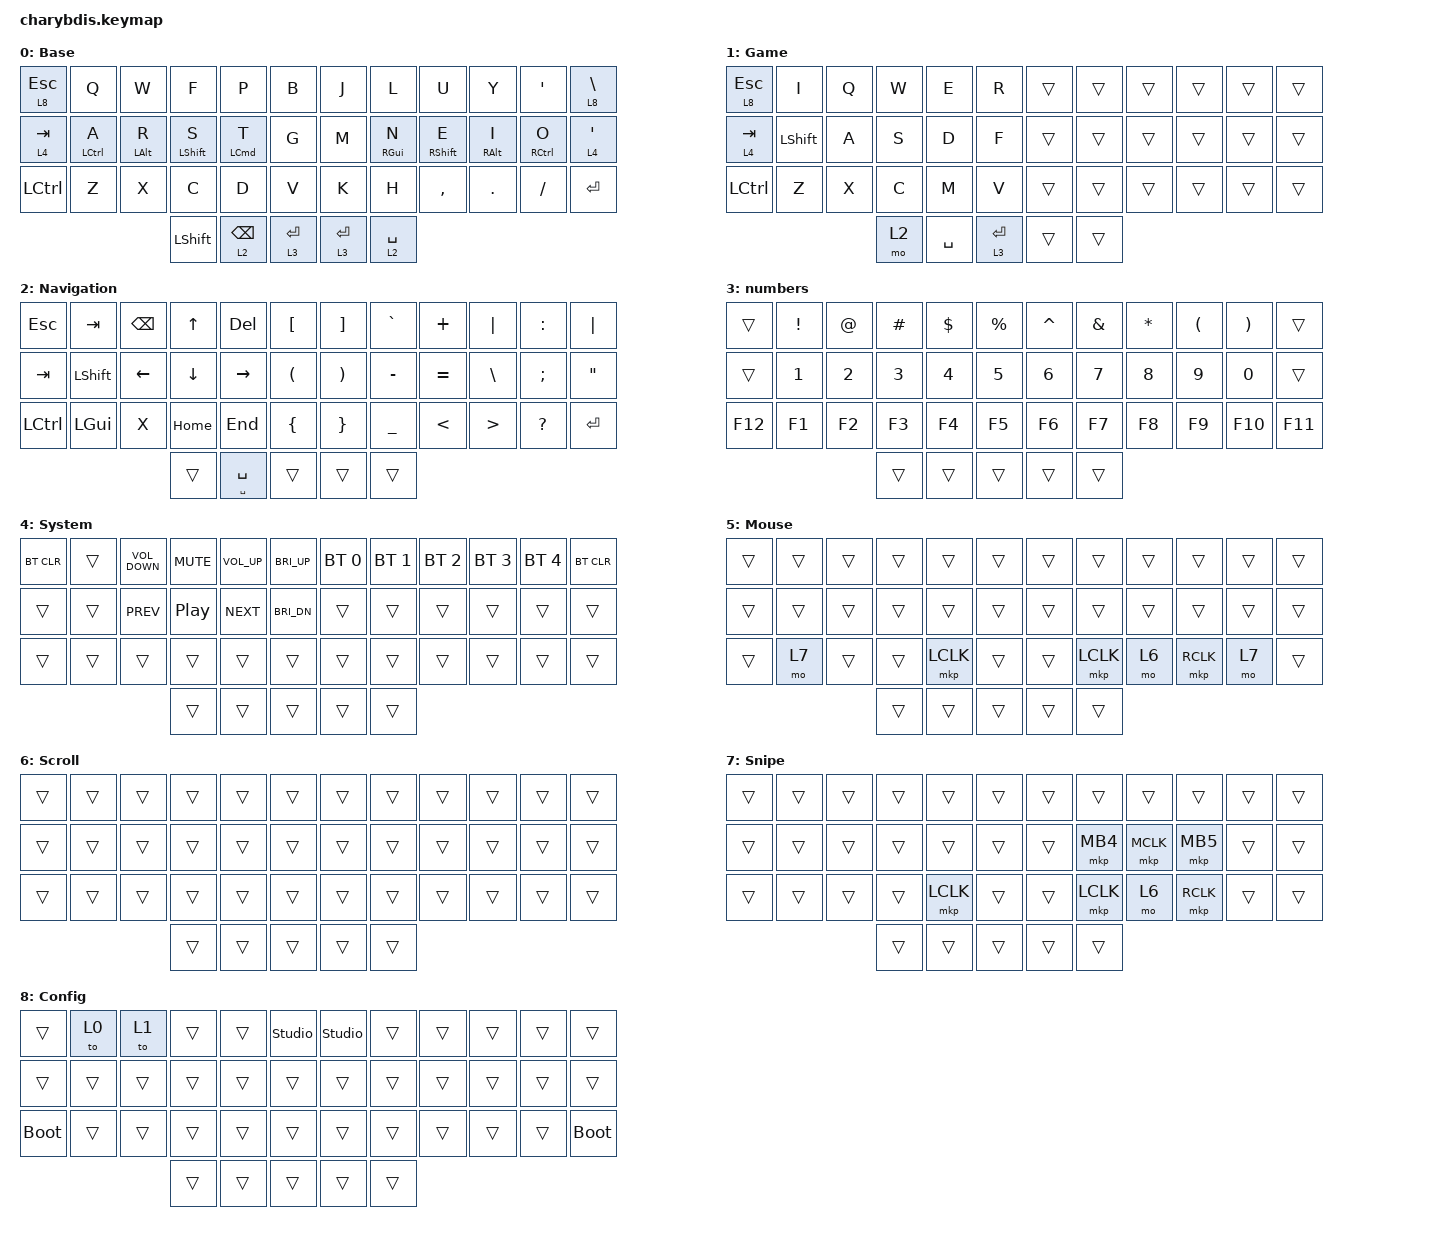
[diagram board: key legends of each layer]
#include <dt-bindings/zmk/mouse.h>
#include <behaviors/mouse_keys.dtsi>
#include <input/processors.dtsi>
#include <dt-bindings/zmk/input_transform.h>
#include <zephyr/dt-bindings/input/input-event-codes.h>
#include <behaviors.dtsi>
#include <dt-bindings/zmk/bt.h>
#include <dt-bindings/zmk/keys.h>
#include <dt-bindings/zmk/pointing.h>

#define QUICK_TAP_MS 175

#include "zmk-helpers/helper.h"
#include "zmk-helpers/key-labels/42.h"

#define KEYS_L 0 1 2 3 4 5 12 13 14 15 16 17 24 25 26 27 28 29 36 37 38 19 20 21 22  // Left-hand keys.
#define KEYS_R 6 7 8 9 10 11 18 19 20 21 22 23 30 31 32 33 34 35 39 40 16 15 14 13  // Right-hand keys.
#define THUMBS 36 37 38 39 40  // Thumb keys.
#define BASE 0
#define GAME 1
#define NAV  2
#define NUM  3
#define SYS  4
#define MOUSE  5
#define SCROLL 6
#define SNIPE 7

&sk {
    release-after-ms = <900>;  // release after 0.9s
    quick-release;             // no double capitalization when rolling keys
};

&sl {
    ignore-modifiers;          // allow chording sticky mods & layers
};

&lt {
    flavor = "balanced";
    tapping-term-ms = <200>;
    quick-tap-ms = <QUICK_TAP_MS>;
};

&mt {
    flavor = "balanced";
    tapping-term-ms = <200>;
    quick-tap-ms = <QUICK_TAP_MS>;
};

/ {
    behaviors {
        hm_right: homerow_mod_right {
            compatible = "zmk,behavior-hold-tap";
            #binding-cells = <2>;
            flavor = "balanced";
            tapping-term-ms = <280>;
            quick-tap-ms = <200>;
            require-prior-idle-ms = <150>;
            bindings = <&kp>, <&kp>;

            hold-trigger-key-positions = <0 1 2 3 4 5 12 13 14 15 16 17 24 25 26 27 28 29 36 37 38 19 20 21 22 36 37 38 39 40>;
        };

        hm_left: homerow_mod_left {
            compatible = "zmk,behavior-hold-tap";
            #binding-cells = <2>;
            flavor = "balanced";
            tapping-term-ms = <280>;
            quick-tap-ms = <200>;
            require-prior-idle-ms = <150>;
            bindings = <&kp>, <&kp>;

            hold-trigger-key-positions = <6 7 8 9 10 11 18 19 20 21 22 23 30 31 32 33 34 35 39 40 16 15 14 13 36 37 38 39 40>;
        };

        hm_right_layer: homerow_mod_right_layer {
            compatible = "zmk,behavior-hold-tap";
            #binding-cells = <2>;
            flavor = "balanced";
            tapping-term-ms = <280>;
            quick-tap-ms = <200>;
            require-prior-idle-ms = <150>;
            bindings = <&mo>, <&kp>;

            hold-trigger-key-positions = <0 1 2 3 4 5 12 13 14 15 16 17 24 25 26 27 28 29 36 37 38 19 20 21 22 36 37 38 39 40>;
        };

        hm_left_layer: homerow_mod_left_layer {
            compatible = "zmk,behavior-hold-tap";
            #binding-cells = <2>;
            flavor = "balanced";
            tapping-term-ms = <280>;
            quick-tap-ms = <200>;
            require-prior-idle-ms = <150>;
            bindings = <&mo>, <&kp>;

            hold-trigger-key-positions = <6 7 8 9 10 11 18 19 20 21 22 23 30 31 32 33 34 35 39 40 16 15 14 13 36 37 38 39 40>;
        };

        comment_or: comment_or {
            compatible = "zmk,behavior-hold-tap";
            label = "slash_or_comm";
            bindings = <&comment>, <&kp>;

            #binding-cells = <2>;
            tapping-term-ms = <200>;
            flavor = "tap-preferred";
        };

        all_quotes: all_quotes {
            compatible = "zmk,behavior-tap-dance";
            #binding-cells = <0>;
            tapping-term-ms = <200>;
            bindings = <&mt GRAVE SQT>, <&kp DOUBLE_QUOTES>;
        };

        space_or_super: space_or_super {
            compatible = "zmk,behavior-hold-tap";
            #binding-cells = <2>;
            flavor = "tap-preferred";
            tapping-term-ms = <250>;
            quick-tap-ms = <150>;
            require-prior-idle-ms = <125>;
            bindings = <&super>, <&kp>;
        };
    };

    combos {
        compatible = "zmk,combos";

        caps_lock {
            bindings = <&caps_word>;
            key-positions = <14 15 16>;
            timeout-ms = <100>;
            require-prior-idle-ms = <150>;
        };
    };

    macros {
        /**
       * Temporarily switches to a layer (`&mo`) while a modifier is held.
       * Analogous to QMK's `LM()`, using a parameterized macro.
       *
       * Params:
       *  1. Layer to switch to
       *  2. Modifier to press while layer is active
       *
       * Example:
       *  `&lm NUM_LAYER LSHIFT`
       */

        lm: lm {
            compatible = "zmk,behavior-macro-two-param";
            wait-ms = <0>;
            tap-ms = <0>;
            #binding-cells = <2>;
            bindings =
                <&macro_param_1to1>,
                <&macro_press>,
                <&mo MACRO_PLACEHOLDER &macro_param_2to1>,
                <&macro_press>,
                <&kp MACRO_PLACEHOLDER>,
                <&macro_pause_for_release>,
                <&macro_param_2to1>,
                <&macro_release>,
                <&kp MACRO_PLACEHOLDER &macro_param_1to1>,
                <&macro_release>,
                <&mo MACRO_PLACEHOLDER>;
        };

        press_two_keys: press_two_keys {
            compatible = "zmk,behavior-macro-two-param";
            wait-ms = <0>;
            tap-ms = <0>;
            #binding-cells = <2>;
            bindings =
                <&macro_param_1to1>,
                <&macro_tap>,
                <&kp MACRO_PLACEHOLDER &macro_param_2to1>,
                <&macro_tap>,
                <&kp MACRO_PLACEHOLDER>;
        };

        super: super {
            compatible = "zmk,behavior-macro";
            #binding-cells = <0>;
            bindings =
                <&macro_press>,
                <&kp LGUI>,
                <&macro_press>,
                <&kp LALT>,
                <&macro_press>,
                <&kp LCTL>,
                <&macro_pause_for_release>,
                <&macro_release>,
                <&kp LGUI>,
                <&macro_release>,
                <&kp LALT>,
                <&macro_release>,
                <&kp LCTL>;
        };

        more_or_equal: more_or_equal {
            compatible = "zmk,behavior-macro";
            #binding-cells = <0>;
            bindings = <&kp MINUS &kp GT>;
            label = "MORE_OR_EQUAL";
        };

        less_or_equal: less_or_equal {
            compatible = "zmk,behavior-macro";
            #binding-cells = <0>;
            bindings = <&kp LT &kp EQUAL>;
            label = "LESS_OR_EQUAL";
        };

        fun_arrow_right: fun_arrow_right {
            compatible = "zmk,behavior-macro";
            #binding-cells = <0>;
            bindings = <&kp MINUS &kp GT>;
            label = "FUN_ARROW_RIGHT";
        };

        comment: comment {
            compatible = "zmk,behavior-macro";
            #binding-cells = <0>;
            bindings = <&kp FSLH &kp STAR>;
            label = "MACROS_COMMENT";
        };
    };

    /omit-if-no-ref/

    zip_temp_layer: zip_temp_layer {
        compatible = "zmk,input-processor-temp-layer";
        #input-processor-cells = <2>;
        require-prior-idle-ms = <1000>;
    };

    /omit-if-no-ref/

    vertical_scroll_mapper: vertical_scroll_mapper {
        compatible = "zmk,input-processor-code-mapper";
        #input-processor-cells = <0>;
        type = <INPUT_EV_REL>;
        map = <INPUT_REL_Y INPUT_REL_WHEEL>;
    };

    trackball_listener {
        compatible = "zmk,input-listener";
        device = <&vtrackball>;

        // scaler: first is multiplier, second one is divider.
        // temp layer: first argument is layer, second is time in ms

        input-processors = <&zip_temp_layer MOUSE 800>, <&zip_xy_scaler 1 6>;

        snipe {
            layers = <SNIPE>;
            input-processors = <&zip_xy_scaler 1 18>;
        };

        scroll {
            layers = <SCROLL>;

            // scaler: first is multiplier, second one is divider.

            input-processors =
                <&zip_xy_to_scroll_mapper>,
                <&zip_scroll_transform (INPUT_TRANSFORM_Y_INVERT)>,
                <&zip_scroll_scaler 1 96>;
        };
    };

    /*                                      42 KEY MATRIX / LAYOUT MAPPING

  ╭────────────────────────┬────────────────────────╮ ╭─────────────────────────┬─────────────────────────╮
  │  0   1   2   3   4   5 │  6   7   8   9  10  11 │ │ LT5 LT4 LT3 LT2 LT1 LT0 │ RT0 RT1 RT2 RT3 RT4 RT5 │
  │ 12  13  14  15  16  17 │ 18  19  20  21  22  23 │ │ LM5 LM4 LM3 LM2 LM1 LM0 │ RM0 RM1 RM2 RM3 RM4 RM5 │
  │ 24  25  26  27  28  29 │ 30  31  32  33  34  35 │ │ LB5 LB4 LB3 LB2 LB1 LB0 │ RB0 RB1 RB2 RB3 RB4 RB5 │
  ╰───────────╮ 36  37  38 │ 39  40  41 ╭───────────╯ ╰───────────╮ LH2 LH1 LH0 │ RH0 RH1 RH2 ╭───────────╯
              ╰────────────┴────────────╯                         ╰─────────────┴─────────────╯             */

    keymap {
        compatible = "zmk,keymap";

        BASE {
            label = "Base";
            bindings = <
&lt 8 ESC         &kp Q             &kp W                &kp F             &kp P                    &kp B          &kp J        &kp L                  &kp U              &kp Y                  &kp SQT            &lt 8 BACKSLASH
&lt 4 TAB         &hm_left LCTRL A  &hm_left LEFT_ALT R  &hm_left LSHFT S  &hm_left LEFT_COMMAND T  &kp G          &kp M        &hm_right RIGHT_GUI N  &hm_right RSHFT E  &hm_right RIGHT_ALT I  &hm_right RCTRL O  &lt 4 SQT
&kp LEFT_CONTROL  &kp Z             &kp X                &kp C             &kp D                    &kp V          &kp K        &kp H                  &kp COMMA          &kp PERIOD             &kp SLASH          &kp ENTER
                                                         &kp LEFT_SHIFT    &lt 2 BACKSPACE          &lt 3 ENTER    &lt 3 ENTER  &lt 2 SPACE
            >;
        };

        GAME {
            label = "Game";
            bindings = <
&lt 8 ESC  &kp I           &kp Q  &kp W  &kp E      &kp R          &trans  &trans  &trans  &trans  &trans  &trans
&lt 4 TAB  &kp LEFT_SHIFT  &kp A  &kp S  &kp D      &kp F          &trans  &trans  &trans  &trans  &trans  &trans
&kp LCTRL  &kp Z           &kp X  &kp C  &kp M      &kp V          &trans  &trans  &trans  &trans  &trans  &trans
                                  &mo 2  &kp SPACE  &lt 3 ENTER    &trans  &trans
            >;
        };

        NAV {
            label = "Navigation";
            bindings = <
&kp ESC    &kp TAB    &kp BSPC  &kp UP_ARROW  &kp DEL                      &kp LBKT                &kp RBKT               &kp GRAVE       &kp PLUS       &kp PIPE          &kp COLON     &kp PIPE
&kp TAB    &kp LSHFT  &kp LEFT  &kp DOWN      &kp RIGHT                    &kp LEFT_PARENTHESIS    &kp RIGHT_PARENTHESIS  &kp MINUS       &kp EQUAL      &kp BSLH          &kp SEMI      &kp DOUBLE_QUOTES
&kp LCTRL  &kp LGUI   &kp X     &kp HOME      &kp END                      &kp LEFT_BRACE          &kp RIGHT_BRACE        &kp UNDERSCORE  &kp LESS_THAN  &kp GREATER_THAN  &kp QUESTION  &kp RET
                                &trans        &space_or_super SPACE SPACE  &trans                  &trans                 &trans
            >;
        };

        NUM {
            label = "numbers";
            bindings = <
&trans   &kp EXCLAMATION  &kp AT_SIGN  &kp HASH  &kp DOLLAR  &kp PERCENT    &kp CARET  &kp AMPERSAND  &kp ASTERISK  &kp LEFT_PARENTHESIS  &kp RIGHT_PARENTHESIS  &trans
&trans   &kp N1           &kp N2       &kp N3    &kp N4      &kp N5         &kp N6     &kp N7         &kp N8        &kp N9                &kp N0                 &trans
&kp F12  &kp F1           &kp F2       &kp F3    &kp F4      &kp F5         &kp F6     &kp F7         &kp F8        &kp F9                &kp F10                &kp F11
                                       &trans    &trans      &trans         &trans     &trans
            >;
        };

        SYS {
            label = "System";
            bindings = <
&bt BT_CLR  &trans  &kp C_VOLUME_DOWN  &kp C_MUTE  &kp C_VOLUME_UP  &kp C_BRI_UP    &bt BT_SEL 0  &bt BT_SEL 1  &bt BT_SEL 2  &bt BT_SEL 3  &bt BT_SEL 4  &bt BT_CLR
&trans      &trans  &kp C_PREV         &kp C_PP    &kp C_NEXT       &kp C_BRI_DN    &trans        &trans        &trans        &trans        &trans        &trans
&trans      &trans  &trans             &trans      &trans           &trans          &trans        &trans        &trans        &trans        &trans        &trans
                                       &trans      &trans           &trans          &trans        &trans
            >;
        };

        Mouse {
            bindings = <
&trans  &trans  &trans  &trans  &trans     &trans    &trans  &trans     &trans  &trans     &trans  &trans
&trans  &trans  &trans  &trans  &trans     &trans    &trans  &trans     &trans  &trans     &trans  &trans
&trans  &mo 7   &trans  &trans  &mkp LCLK  &trans    &trans  &mkp LCLK  &mo 6   &mkp RCLK  &mo 7   &trans
                        &trans  &trans     &trans    &trans  &trans
            >;

            label = "Mouse";
        };

        SCROLL {
            label = "Scroll";
            bindings = <
&trans  &trans  &trans  &trans  &trans  &trans    &trans  &trans  &trans  &trans  &trans  &trans
&trans  &trans  &trans  &trans  &trans  &trans    &trans  &trans  &trans  &trans  &trans  &trans
&trans  &trans  &trans  &trans  &trans  &trans    &trans  &trans  &trans  &trans  &trans  &trans
                        &trans  &trans  &trans    &trans  &trans
            >;
        };

        SNIPE {
            label = "Snipe";
            bindings = <
&trans  &trans  &trans  &trans  &trans     &trans    &trans  &trans     &trans     &trans     &trans  &trans
&trans  &trans  &trans  &trans  &trans     &trans    &trans  &mkp MB4   &mkp MCLK  &mkp MB5   &trans  &trans
&trans  &trans  &trans  &trans  &mkp LCLK  &trans    &trans  &mkp LCLK  &mo 6      &mkp RCLK  &trans  &trans
                        &trans  &trans     &trans    &trans  &trans
            >;
        };

        CFG {
            label = "Config";
            bindings = <
&trans       &to 0   &to 1   &trans  &trans  &studio_unlock    &studio_unlock  &trans  &trans  &trans  &trans  &trans
&trans       &trans  &trans  &trans  &trans  &trans            &trans          &trans  &trans  &trans  &trans  &trans
&bootloader  &trans  &trans  &trans  &trans  &trans            &trans          &trans  &trans  &trans  &trans  &bootloader
                             &trans  &trans  &trans            &trans          &trans
            >;
        };
    };
};
